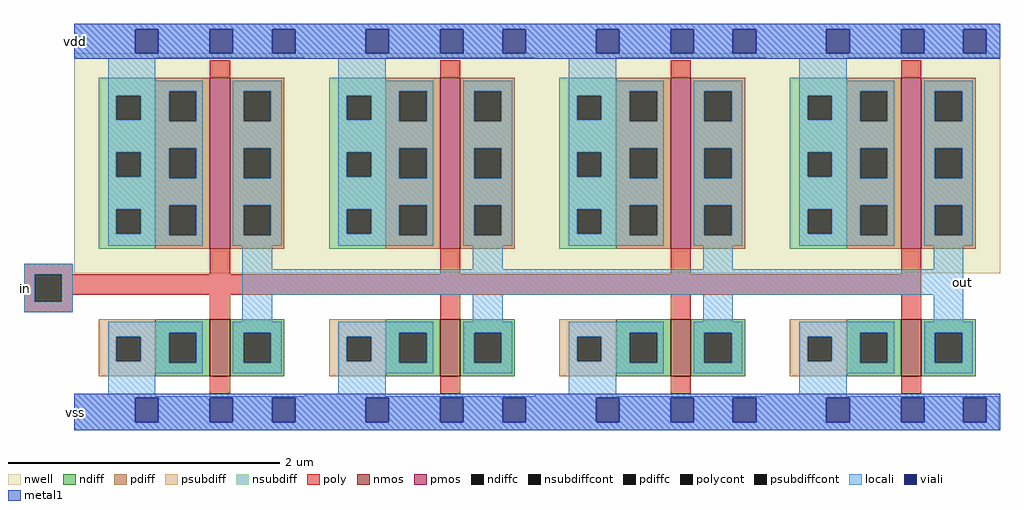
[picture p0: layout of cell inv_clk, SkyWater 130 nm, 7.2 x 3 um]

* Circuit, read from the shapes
.subckt inv_clk vdd vss in out
XM1 out in vss vss sky130_fd_pr__nfet_01v8 w=0.42 l=0.15 m=4
XM2 out in vdd vdd sky130_fd_pr__pfet_01v8 w=1.26 l=0.15 m=4
.ends

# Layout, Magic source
magic
tech sky130A
<< nwell >>
rect -100 76 583 238
<< nmos >>
rect 0 0 15 42
rect 170 0 185 42
rect 340 0 355 42
rect 510 0 525 42
<< pmos >>
rect 0 94 15 220
rect 170 94 185 220
rect 340 94 355 220
rect 510 94 525 220
<< ndiff >>
rect -40 32 0 42
rect -40 10 -30 32
rect -10 10 0 32
rect -40 0 0 10
rect 15 32 55 42
rect 15 10 25 32
rect 45 10 55 32
rect 15 0 55 10
rect 130 32 170 42
rect 130 10 140 32
rect 160 10 170 32
rect 130 0 170 10
rect 185 32 225 42
rect 185 10 195 32
rect 215 10 225 32
rect 185 0 225 10
rect 300 32 340 42
rect 300 10 310 32
rect 330 10 340 32
rect 300 0 340 10
rect 355 32 395 42
rect 355 10 365 32
rect 385 10 395 32
rect 355 0 395 10
rect 470 32 510 42
rect 470 10 480 32
rect 500 10 510 32
rect 470 0 510 10
rect 525 32 565 42
rect 525 10 535 32
rect 555 10 565 32
rect 525 0 565 10
<< pdiff >>
rect -40 210 0 220
rect -40 188 -30 210
rect -10 188 0 210
rect -40 168 0 188
rect -40 146 -30 168
rect -10 146 0 168
rect -40 126 0 146
rect -40 104 -30 126
rect -10 104 0 126
rect -40 94 0 104
rect 15 210 55 220
rect 15 188 25 210
rect 45 188 55 210
rect 15 168 55 188
rect 15 146 25 168
rect 45 146 55 168
rect 15 126 55 146
rect 15 104 25 126
rect 45 104 55 126
rect 15 94 55 104
rect 130 210 170 220
rect 130 188 140 210
rect 160 188 170 210
rect 130 168 170 188
rect 130 146 140 168
rect 160 146 170 168
rect 130 126 170 146
rect 130 104 140 126
rect 160 104 170 126
rect 130 94 170 104
rect 185 210 225 220
rect 185 188 195 210
rect 215 188 225 210
rect 185 168 225 188
rect 185 146 195 168
rect 215 146 225 168
rect 185 126 225 146
rect 185 104 195 126
rect 215 104 225 126
rect 185 94 225 104
rect 300 210 340 220
rect 300 188 310 210
rect 330 188 340 210
rect 300 168 340 188
rect 300 146 310 168
rect 330 146 340 168
rect 300 126 340 146
rect 300 104 310 126
rect 330 104 340 126
rect 300 94 340 104
rect 355 210 395 220
rect 355 188 365 210
rect 385 188 395 210
rect 355 168 395 188
rect 355 146 365 168
rect 385 146 395 168
rect 355 126 395 146
rect 355 104 365 126
rect 385 104 395 126
rect 355 94 395 104
rect 470 210 510 220
rect 470 188 480 210
rect 500 188 510 210
rect 470 168 510 188
rect 470 146 480 168
rect 500 146 510 168
rect 470 126 510 146
rect 470 104 480 126
rect 500 104 510 126
rect 470 94 510 104
rect 525 210 565 220
rect 525 188 535 210
rect 555 188 565 210
rect 525 168 565 188
rect 525 146 535 168
rect 555 146 565 168
rect 525 126 565 146
rect 525 104 535 126
rect 555 104 565 126
rect 525 94 565 104
<< ndiffc >>
rect -30 10 -10 32
rect 25 10 45 32
rect 140 10 160 32
rect 195 10 215 32
rect 310 10 330 32
rect 365 10 385 32
rect 480 10 500 32
rect 535 10 555 32
<< pdiffc >>
rect -30 188 -10 210
rect -30 146 -10 168
rect -30 104 -10 126
rect 25 188 45 210
rect 25 146 45 168
rect 25 104 45 126
rect 140 188 160 210
rect 140 146 160 168
rect 140 104 160 126
rect 195 188 215 210
rect 195 146 215 168
rect 195 104 215 126
rect 310 188 330 210
rect 310 146 330 168
rect 310 104 330 126
rect 365 188 385 210
rect 365 146 385 168
rect 365 104 385 126
rect 480 188 500 210
rect 480 146 500 168
rect 480 104 500 126
rect 535 188 555 210
rect 535 146 555 168
rect 535 104 555 126
<< psubdiff >>
rect -82 29 -40 42
rect -82 11 -69 29
rect -51 11 -40 29
rect -82 0 -40 11
rect 88 29 130 42
rect 88 11 101 29
rect 119 11 130 29
rect 88 0 130 11
rect 258 29 300 42
rect 258 11 271 29
rect 289 11 300 29
rect 258 0 300 11
rect 428 29 470 42
rect 428 11 441 29
rect 459 11 470 29
rect 428 0 470 11
<< nsubdiff >>
rect -82 207 -40 220
rect -82 189 -69 207
rect -51 189 -40 207
rect -82 165 -40 189
rect -82 147 -69 165
rect -51 147 -40 165
rect -82 123 -40 147
rect -82 105 -69 123
rect -51 105 -40 123
rect -82 94 -40 105
rect 88 207 130 220
rect 88 189 101 207
rect 119 189 130 207
rect 88 165 130 189
rect 88 147 101 165
rect 119 147 130 165
rect 88 123 130 147
rect 88 105 101 123
rect 119 105 130 123
rect 88 94 130 105
rect 258 207 300 220
rect 258 189 271 207
rect 289 189 300 207
rect 258 165 300 189
rect 258 147 271 165
rect 289 147 300 165
rect 258 123 300 147
rect 258 105 271 123
rect 289 105 300 123
rect 258 94 300 105
rect 428 207 470 220
rect 428 189 441 207
rect 459 189 470 207
rect 428 165 470 189
rect 428 147 441 165
rect 459 147 470 165
rect 428 123 470 147
rect 428 105 441 123
rect 459 105 470 123
rect 428 94 470 105
<< psubdiffcont >>
rect -69 11 -51 29
rect 101 11 119 29
rect 271 11 289 29
rect 441 11 459 29
<< nsubdiffcont >>
rect -69 189 -51 207
rect -69 147 -51 165
rect -69 105 -51 123
rect 101 189 119 207
rect 101 147 119 165
rect 101 105 119 123
rect 271 189 289 207
rect 271 147 289 165
rect 271 105 289 123
rect 441 189 459 207
rect 441 147 459 165
rect 441 105 459 123
<< poly >>
rect 0 220 15 233
rect 170 220 185 233
rect 340 220 355 233
rect 510 220 525 233
rect -137 75 -101 83
rect 0 75 15 94
rect 170 75 185 94
rect 340 75 355 94
rect 510 75 525 94
rect -137 55 -129 75
rect -109 60 525 75
rect -109 55 -101 60
rect -137 47 -101 55
rect 0 42 15 60
rect 170 42 185 60
rect 340 42 355 60
rect 510 42 525 60
rect 0 -13 15 0
rect 170 -13 185 0
rect 340 -13 355 0
rect 510 -13 525 0
<< polycont >>
rect -129 55 -109 75
<< locali >>
rect -100 256 583 260
rect -100 238 -55 256
rect -38 238 0 256
rect 17 238 46 256
rect 63 238 115 256
rect 132 238 170 256
rect 187 238 216 256
rect 233 238 285 256
rect 302 238 340 256
rect 357 238 386 256
rect 403 238 455 256
rect 472 238 510 256
rect 527 238 556 256
rect 573 238 583 256
rect -100 235 583 238
rect -100 234 -40 235
rect 70 234 130 235
rect 240 234 300 235
rect 410 234 470 235
rect -75 218 -40 234
rect 95 218 130 234
rect 265 218 300 234
rect 435 218 470 234
rect -75 210 -5 218
rect -75 207 -30 210
rect -75 189 -69 207
rect -51 189 -30 207
rect -75 188 -30 189
rect -10 188 -5 210
rect -75 168 -5 188
rect -75 165 -30 168
rect -75 147 -69 165
rect -51 147 -30 165
rect -75 146 -30 147
rect -10 146 -5 168
rect -75 126 -5 146
rect -75 123 -30 126
rect -75 105 -69 123
rect -51 105 -30 123
rect -75 104 -30 105
rect -10 104 -5 126
rect -75 96 -5 104
rect 17 210 53 218
rect 17 188 25 210
rect 45 188 53 210
rect 17 168 53 188
rect 17 146 25 168
rect 45 146 53 168
rect 17 126 53 146
rect 17 104 25 126
rect 45 104 53 126
rect 17 96 53 104
rect 95 210 165 218
rect 95 207 140 210
rect 95 189 101 207
rect 119 189 140 207
rect 95 188 140 189
rect 160 188 165 210
rect 95 168 165 188
rect 95 165 140 168
rect 95 147 101 165
rect 119 147 140 165
rect 95 146 140 147
rect 160 146 165 168
rect 95 126 165 146
rect 95 123 140 126
rect 95 105 101 123
rect 119 105 140 123
rect 95 104 140 105
rect 160 104 165 126
rect 95 96 165 104
rect 187 210 223 218
rect 187 188 195 210
rect 215 188 223 210
rect 187 168 223 188
rect 187 146 195 168
rect 215 146 223 168
rect 187 126 223 146
rect 187 104 195 126
rect 215 104 223 126
rect 187 96 223 104
rect 265 210 335 218
rect 265 207 310 210
rect 265 189 271 207
rect 289 189 310 207
rect 265 188 310 189
rect 330 188 335 210
rect 265 168 335 188
rect 265 165 310 168
rect 265 147 271 165
rect 289 147 310 165
rect 265 146 310 147
rect 330 146 335 168
rect 265 126 335 146
rect 265 123 310 126
rect 265 105 271 123
rect 289 105 310 123
rect 265 104 310 105
rect 330 104 335 126
rect 265 96 335 104
rect 357 210 393 218
rect 357 188 365 210
rect 385 188 393 210
rect 357 168 393 188
rect 357 146 365 168
rect 385 146 393 168
rect 357 126 393 146
rect 357 104 365 126
rect 385 104 393 126
rect 357 96 393 104
rect 435 210 505 218
rect 435 207 480 210
rect 435 189 441 207
rect 459 189 480 207
rect 435 188 480 189
rect 500 188 505 210
rect 435 168 505 188
rect 435 165 480 168
rect 435 147 441 165
rect 459 147 480 165
rect 435 146 480 147
rect 500 146 505 168
rect 435 126 505 146
rect 435 123 480 126
rect 435 105 441 123
rect 459 105 480 123
rect 435 104 480 105
rect 500 104 505 126
rect 435 96 505 104
rect 527 210 563 218
rect 527 188 535 210
rect 555 188 563 210
rect 527 168 563 188
rect 527 146 535 168
rect 555 146 563 168
rect 527 126 563 146
rect 527 104 535 126
rect 555 104 563 126
rect 527 96 563 104
rect -137 75 -101 83
rect -137 55 -129 75
rect -109 55 -101 75
rect -137 47 -101 55
rect 24 79 46 96
rect 194 79 216 96
rect 364 79 386 96
rect 534 79 556 96
rect 24 60 556 79
rect 24 40 46 60
rect 194 40 216 60
rect 364 40 386 60
rect 534 40 556 60
rect -75 32 -5 40
rect -75 29 -30 32
rect -75 11 -69 29
rect -51 11 -30 29
rect -75 10 -30 11
rect -10 10 -5 32
rect -75 2 -5 10
rect 17 32 53 40
rect 17 10 25 32
rect 45 10 53 32
rect 17 2 53 10
rect 95 32 165 40
rect 95 29 140 32
rect 95 11 101 29
rect 119 11 140 29
rect 95 10 140 11
rect 160 10 165 32
rect 95 2 165 10
rect 187 32 223 40
rect 187 10 195 32
rect 215 10 223 32
rect 187 2 223 10
rect 265 32 335 40
rect 265 29 310 32
rect 265 11 271 29
rect 289 11 310 29
rect 265 10 310 11
rect 330 10 335 32
rect 265 2 335 10
rect 357 32 393 40
rect 357 10 365 32
rect 385 10 393 32
rect 357 2 393 10
rect 435 32 505 40
rect 435 29 480 32
rect 435 11 441 29
rect 459 11 480 29
rect 435 10 480 11
rect 500 10 505 32
rect 435 2 505 10
rect 527 32 563 40
rect 527 10 535 32
rect 555 10 563 32
rect 527 2 563 10
rect -75 -13 -40 2
rect 95 -13 130 2
rect 265 -13 300 2
rect 435 -13 470 2
rect -100 -15 -40 -13
rect 70 -15 130 -13
rect 240 -15 300 -13
rect 410 -15 470 -13
rect -100 -16 582 -15
rect -100 -34 -55 -16
rect -38 -34 0 -16
rect 17 -34 46 -16
rect 63 -34 115 -16
rect 132 -34 170 -16
rect 187 -34 216 -16
rect 233 -34 285 -16
rect 302 -34 340 -16
rect 357 -34 386 -16
rect 403 -34 455 -16
rect 472 -34 510 -16
rect 527 -34 556 -16
rect 573 -34 582 -16
rect -100 -40 582 -34
<< viali >>
rect -55 238 -38 256
rect 0 238 17 256
rect 46 238 63 256
rect 115 238 132 256
rect 170 238 187 256
rect 216 238 233 256
rect 285 238 302 256
rect 340 238 357 256
rect 386 238 403 256
rect 455 238 472 256
rect 510 238 527 256
rect 556 238 573 256
rect -55 -34 -38 -16
rect 0 -34 17 -16
rect 46 -34 63 -16
rect 115 -34 132 -16
rect 170 -34 187 -16
rect 216 -34 233 -16
rect 285 -34 302 -16
rect 340 -34 357 -16
rect 386 -34 403 -16
rect 455 -34 472 -16
rect 510 -34 527 -16
rect 556 -34 573 -16
<< metal1 >>
rect -100 256 583 260
rect -100 238 -55 256
rect -38 238 0 256
rect 17 238 46 256
rect 63 238 115 256
rect 132 238 170 256
rect 187 238 216 256
rect 233 238 285 256
rect 302 238 340 256
rect 357 238 386 256
rect 403 238 455 256
rect 472 238 510 256
rect 527 238 556 256
rect 573 238 583 256
rect -100 234 583 238
rect -100 -16 583 -13
rect -100 -34 -55 -16
rect -38 -34 0 -16
rect 17 -34 46 -16
rect 63 -34 115 -16
rect 132 -34 170 -16
rect 187 -34 216 -16
rect 233 -34 285 -16
rect 302 -34 340 -16
rect 357 -34 386 -16
rect 403 -34 455 -16
rect 472 -34 510 -16
rect 527 -34 556 -16
rect 573 -34 583 -16
rect -100 -40 583 -34
<< labels >>
rlabel metal1 -99 247 -99 247 1 vdd
port 1 n
rlabel metal1 -99 -27 -99 -27 1 vss
port 2 n
rlabel locali -136 65 -136 65 3 in
port 3 e
rlabel locali 555 69 555 69 1 out
port 4 n
<< end >>
